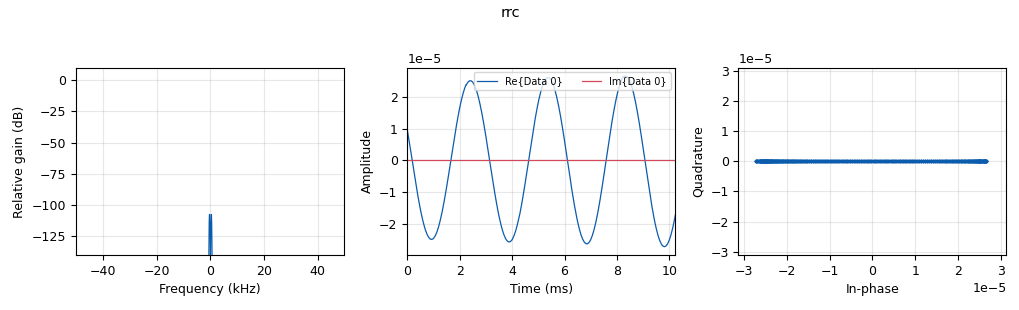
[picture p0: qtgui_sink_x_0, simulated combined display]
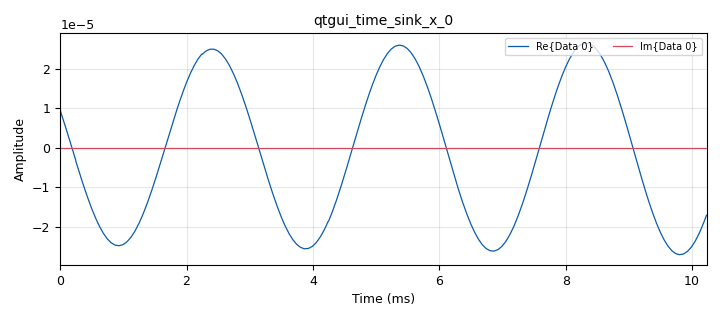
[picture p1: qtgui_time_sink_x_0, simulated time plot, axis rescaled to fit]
<?xml version='1.0' encoding='utf-8'?>
<?grc format='1' created='3.7.13'?>
<flow_graph>
<block>
<key>options</key>
<param><key>id</key><value>top_block</value></param>
<param><key>category</key><value>Custom</value></param>
<param><key>generate_options</key><value>qt_gui</value></param>
</block>
<block>
<key>variable_constellation</key>
<param><key>id</key><value>const</value></param>
<param><key>type</key><value>bpsk</value></param>
<param><key>precision</key><value>8</value></param>
</block>
<block>
<key>variable_qtgui_range</key>
<param><key>id</key><value>excess_bw</value></param>
<param><key>value</key><value>0.35</value></param>
<param><key>orient</key><value>Qt.Horizontal</value></param>
<param><key>start</key><value>0</value></param>
<param><key>step</key><value>0.01</value></param>
<param><key>stop</key><value>1</value></param>
</block>
<block>
<key>variable_qtgui_range</key>
<param><key>id</key><value>ftune</value></param>
<param><key>value</key><value>914.8e6</value></param>
<param><key>orient</key><value>Qt.Horizontal</value></param>
<param><key>start</key><value>100e6</value></param>
<param><key>step</key><value>1</value></param>
<param><key>stop</key><value>1000e6</value></param>
</block>
<block>
<key>variable_qtgui_range</key>
<param><key>id</key><value>gain</value></param>
<param><key>value</key><value>30</value></param>
<param><key>orient</key><value>Qt.Horizontal</value></param>
<param><key>start</key><value>0</value></param>
<param><key>step</key><value>1</value></param>
<param><key>stop</key><value>60</value></param>
<param><key>rangeType</key><value>int</value></param>
</block>
<block>
<key>variable</key>
<param><key>id</key><value>samp_rate</value></param>
<param><key>value</key><value>100000</value></param>
</block>
<block>
<key>variable</key>
<param><key>id</key><value>sps</value></param>
<param><key>value</key><value>200</value></param>
</block>
<block>
<key>variable_qtgui_range</key>
<param><key>id</key><value>symbol_rate</value></param>
<param><key>value</key><value>1000</value></param>
<param><key>orient</key><value>Qt.Horizontal</value></param>
<param><key>start</key><value>0</value></param>
<param><key>step</key><value>1</value></param>
<param><key>stop</key><value>10000</value></param>
<param><key>rangeType</key><value>int</value></param>
</block>
<block>
<key>blocks_char_to_float</key>
<param><key>id</key><value>blocks_char_to_float_0</value></param>
<param><key>_enabled</key><value>0</value></param>
<param><key>scale</key><value>1</value></param>
</block>
<block>
<key>blocks_throttle</key>
<param><key>id</key><value>blocks_throttle_0</value></param>
<param><key>_enabled</key><value>2</value></param>
<param><key>samples_per_second</key><value>symbol_rate</value></param>
<param><key>type</key><value>byte</value></param>
</block>
<block>
<key>blocks_vector_source_x</key>
<param><key>id</key><value>blocks_vector_source_x_0</value></param>
<param><key>type</key><value>byte</value></param>
<param><key>repeat</key><value>True</value></param>
<param><key>vector</key><value>(0, 0, 0x55, 0x55)</value></param>
</block>
<block>
<key>blocks_vector_to_stream</key>
<param><key>id</key><value>blocks_vector_to_stream_0</value></param>
<param><key>type</key><value>byte</value></param>
<param><key>num_items</key><value>1</value></param>
</block>
<block>
<key>digital_constellation_modulator</key>
<param><key>id</key><value>digital_constellation_modulator_0</value></param>
<param><key>constellation</key><value>const</value></param>
<param><key>differential</key><value>True</value></param>
<param><key>excess_bw</key><value>0.35</value></param>
<param><key>samples_per_symbol</key><value>sps</value></param>
</block>
<block>
<key>digital_scrambler_bb</key>
<param><key>id</key><value>digital_scrambler_bb_0</value></param>
<param><key>_enabled</key><value>2</value></param>
<param><key>len</key><value>7</value></param>
<param><key>mask</key><value>0x8A</value></param>
<param><key>seed</key><value>0x7F</value></param>
</block>
<block>
<key>interp_fir_filter_xxx</key>
<param><key>id</key><value>interp_fir_filter_xxx_0</value></param>
<param><key>_enabled</key><value>2</value></param>
<param><key>interp</key><value>100</value></param>
<param><key>taps</key><value>1</value></param>
<param><key>type</key><value>ccc</value></param>
</block>
<block>
<key>limesdr_sink</key>
<param><key>id</key><value>limesdr_sink_0</value></param>
<param><key>calibr_bandw_ch0</key><value>5e6</value></param>
<param><key>digital_bandw_ch0</key><value>0</value></param>
<param><key>gain_dB_ch0</key><value>gain</value></param>
<param><key>calibr_bandw_ch1</key><value>5e6</value></param>
<param><key>digital_bandw_ch1</key><value>0</value></param>
<param><key>gain_dB_ch1</key><value>30</value></param>
<param><key>pa_path_ch1</key><value>1</value></param>
<param><key>channel_mode</key><value>0</value></param>
<param><key>oversample</key><value>0</value></param>
<param><key>rf_freq</key><value>ftune</value></param>
<param><key>samp_rate</key><value>samp_rate</value></param>
</block>
<block>
<key>qtgui_sink_x</key>
<param><key>id</key><value>qtgui_sink_x_0</value></param>
<param><key>bw</key><value>samp_rate</value></param>
<param><key>fc</key><value>0</value></param>
<param><key>freqchangevar</key><value>None</value></param>
<param><key>fftsize</key><value>1024</value></param>
<param><key>name</key><value>rrc</value></param>
<param><key>showports</key><value>True</value></param>
<param><key>type</key><value>complex</value></param>
<param><key>wintype</key><value>firdes.WIN_BLACKMAN_hARRIS</value></param>
</block>
<block>
<key>qtgui_sink_x</key>
<param><key>id</key><value>qtgui_sink_x_0_0</value></param>
<param><key>bw</key><value>samp_rate</value></param>
<param><key>fc</key><value>0</value></param>
<param><key>freqchangevar</key><value>None</value></param>
<param><key>_enabled</key><value>0</value></param>
<param><key>fftsize</key><value>1024</value></param>
<param><key>showports</key><value>True</value></param>
<param><key>type</key><value>complex</value></param>
<param><key>wintype</key><value>firdes.WIN_BLACKMAN_hARRIS</value></param>
</block>
<block>
<key>qtgui_time_sink_x</key>
<param><key>id</key><value>qtgui_time_sink_x_0</value></param>
<param><key>color1</key><value>"blue"</value></param>
<param><key>label1</key><value></value></param>
<param><key>color2</key><value>"red"</value></param>
<param><key>label2</key><value></value></param>
<param><key>size</key><value>1024</value></param>
<param><key>srate</key><value>samp_rate</value></param>
<param><key>type</key><value>complex</value></param>
</block>
<block>
<key>qtgui_time_sink_x</key>
<param><key>id</key><value>qtgui_time_sink_x_0_0</value></param>
<param><key>_enabled</key><value>0</value></param>
<param><key>color1</key><value>"blue"</value></param>
<param><key>label1</key><value></value></param>
<param><key>size</key><value>1024</value></param>
<param><key>srate</key><value>samp_rate</value></param>
<param><key>type</key><value>float</value></param>
</block>
<connection><source_block_id>blocks_char_to_float_0</source_block_id><sink_block_id>qtgui_time_sink_x_0_0</sink_block_id><source_key>0</source_key><sink_key>0</sink_key></connection>
<connection><source_block_id>blocks_throttle_0</source_block_id><sink_block_id>blocks_char_to_float_0</sink_block_id><source_key>0</source_key><sink_key>0</sink_key></connection>
<connection><source_block_id>blocks_throttle_0</source_block_id><sink_block_id>digital_scrambler_bb_0</sink_block_id><source_key>0</source_key><sink_key>0</sink_key></connection>
<connection><source_block_id>blocks_vector_source_x_0</source_block_id><sink_block_id>blocks_vector_to_stream_0</sink_block_id><source_key>0</source_key><sink_key>0</sink_key></connection>
<connection><source_block_id>blocks_vector_to_stream_0</source_block_id><sink_block_id>blocks_throttle_0</sink_block_id><source_key>0</source_key><sink_key>0</sink_key></connection>
<connection><source_block_id>digital_constellation_modulator_0</source_block_id><sink_block_id>interp_fir_filter_xxx_0</sink_block_id><source_key>0</source_key><sink_key>0</sink_key></connection>
<connection><source_block_id>digital_constellation_modulator_0</source_block_id><sink_block_id>qtgui_sink_x_0_0</sink_block_id><source_key>0</source_key><sink_key>0</sink_key></connection>
<connection><source_block_id>digital_scrambler_bb_0</source_block_id><sink_block_id>digital_constellation_modulator_0</sink_block_id><source_key>0</source_key><sink_key>0</sink_key></connection>
<connection><source_block_id>interp_fir_filter_xxx_0</source_block_id><sink_block_id>limesdr_sink_0</sink_block_id><source_key>0</source_key><sink_key>0</sink_key></connection>
<connection><source_block_id>interp_fir_filter_xxx_0</source_block_id><sink_block_id>qtgui_sink_x_0</sink_block_id><source_key>0</source_key><sink_key>0</sink_key></connection>
<connection><source_block_id>interp_fir_filter_xxx_0</source_block_id><sink_block_id>qtgui_time_sink_x_0</sink_block_id><source_key>0</source_key><sink_key>0</sink_key></connection>
</flow_graph>
